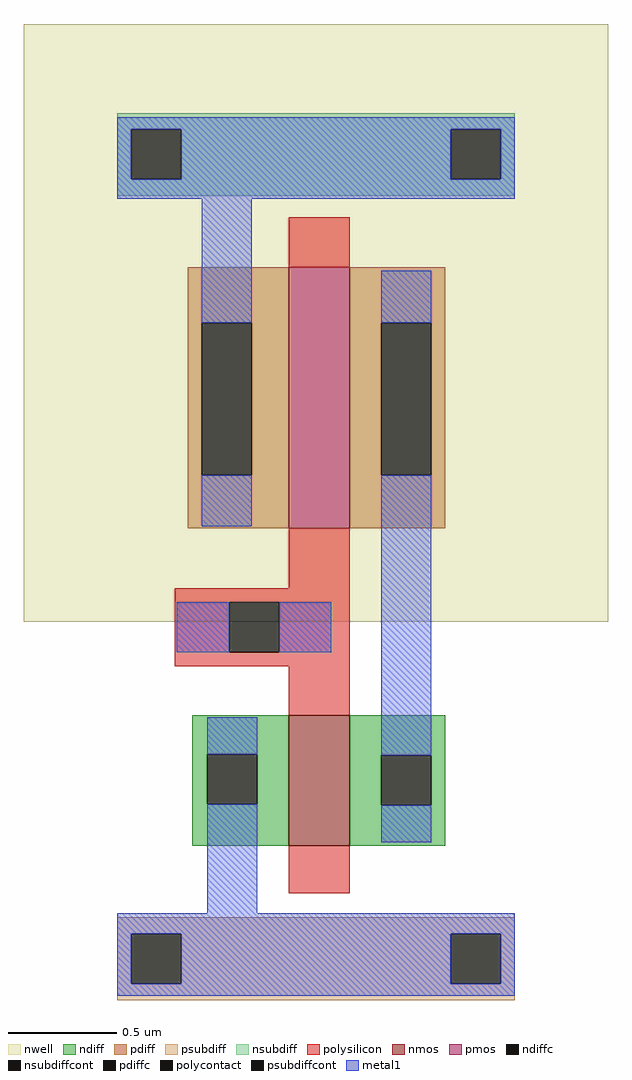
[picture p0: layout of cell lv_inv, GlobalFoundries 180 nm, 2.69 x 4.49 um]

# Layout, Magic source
magic
tech gf180mcuD
magscale 1 10
<< nwell >>
rect 15980 51147 16518 51697
<< nmos >>
rect 16224 50941 16280 51061
<< pmos >>
rect 16224 51233 16280 51473
<< ndiff >>
rect 16135 51025 16224 51061
rect 16135 50979 16149 51025
rect 16195 50979 16224 51025
rect 16135 50941 16224 50979
rect 16280 51024 16368 51061
rect 16280 50978 16309 51024
rect 16355 50978 16368 51024
rect 16280 50941 16368 50978
<< pdiff >>
rect 16131 51422 16224 51473
rect 16131 51282 16144 51422
rect 16190 51282 16224 51422
rect 16131 51233 16224 51282
rect 16280 51422 16368 51473
rect 16280 51282 16309 51422
rect 16355 51282 16368 51422
rect 16280 51233 16368 51282
<< ndiffc >>
rect 16149 50979 16195 51025
rect 16309 50978 16355 51024
<< pdiffc >>
rect 16144 51282 16190 51422
rect 16309 51282 16355 51422
<< psubdiff >>
rect 16066 50860 16432 50875
rect 16066 50814 16079 50860
rect 16125 50814 16373 50860
rect 16419 50814 16432 50860
rect 16066 50799 16432 50814
<< nsubdiff >>
rect 16066 51600 16432 51615
rect 16066 51554 16079 51600
rect 16125 51554 16373 51600
rect 16419 51554 16432 51600
rect 16066 51539 16432 51554
<< psubdiffcont >>
rect 16079 50814 16125 50860
rect 16373 50814 16419 50860
<< nsubdiffcont >>
rect 16079 51554 16125 51600
rect 16373 51554 16419 51600
<< polysilicon >>
rect 16224 51473 16280 51519
rect 16224 51178 16280 51233
rect 16119 51165 16280 51178
rect 16119 51119 16169 51165
rect 16215 51119 16280 51165
rect 16119 51106 16280 51119
rect 16224 51061 16280 51106
rect 16224 50897 16280 50941
<< polycontact >>
rect 16169 51119 16215 51165
<< metal1 >>
rect 16066 51600 16432 51611
rect 16066 51554 16079 51600
rect 16125 51554 16373 51600
rect 16419 51554 16432 51600
rect 16066 51536 16432 51554
rect 16144 51422 16190 51536
rect 16144 51235 16190 51282
rect 16309 51422 16355 51470
rect 16121 51119 16169 51165
rect 16215 51119 16263 51165
rect 16149 51025 16195 51059
rect 16149 50879 16195 50979
rect 16309 51024 16355 51282
rect 16309 50944 16355 50978
rect 16066 50860 16432 50879
rect 16066 50814 16079 50860
rect 16125 50814 16373 50860
rect 16419 50814 16432 50860
rect 16066 50803 16432 50814
<< properties >>
string GDS_END 10539636
string GDS_FILE $PDKPATH/libs.ref/gf180mcu_ocd_io/gds/gf180mcu_ocd_io.gds
string GDS_START 10537456
<< end >>
